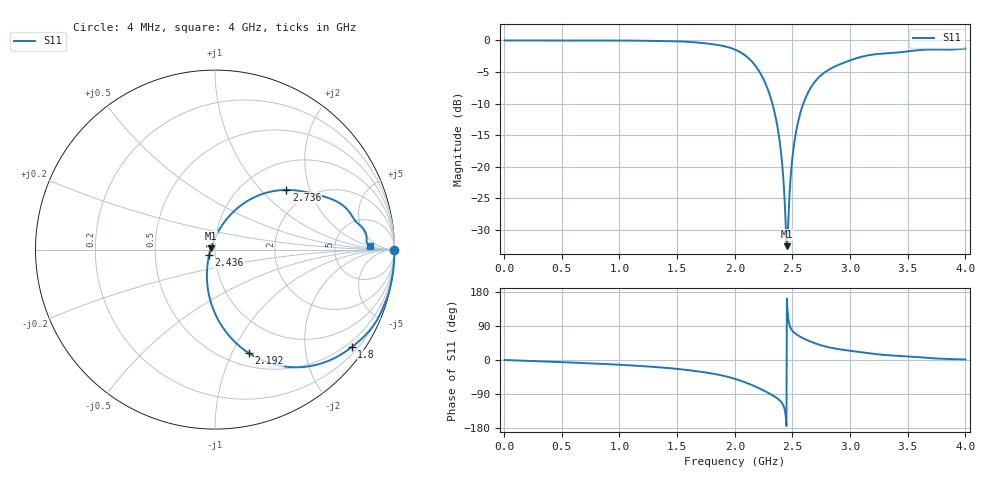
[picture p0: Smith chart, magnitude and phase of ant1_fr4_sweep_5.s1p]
! TOUCHSTONE file generated by CST MICROWAVE STUDIO
! Date and time: Fri May  6 15:38:53 2022
! Project name: ant1_ceramic_sweep_fr4.cst
! Parameters = {e=0.035; h=1.6; i=0.88; l1=0.5; l2=20.96; ls=80; wl=1.7; ws=30}
! Header version: 2018
! Port assignment regex: !\s*Touchstone port\s*([0-9]+)\s*=\s*(CST MWS port|CST DS port)\s*([0-9]+|Zmin|Zmax)\s*\(\"(.*)\"\)(\s*mode\s*([0-9]+))?.*
! Touchstone port assignment:
! Touchstone port 1 = CST MWS port 1 ("")
# GHz S DB R 50
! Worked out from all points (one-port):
!   1000 points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, 4 MHz to 4 GHz, reference 50 ohm
!   lowest |S11| = -32.6 dB at 2.452 GHz (marker M1), VSWR 1.05, Z = 47.8 + j0.684 ohm
!   |S11| at or under -10 dB: 2.326 GHz to 2.595 GHz (269 MHz wide, 10.9 % of centre)
!   S11 on the Smith chart (normalised r, x): 4 MHz: open; 1.8 GHz: 0.35, -3.09; 2.192 GHz: 0.64, -1.16; 2.436 GHz: 0.93, -0.06; 2.736 GHz: 1.54, +1.40; 4 GHz: 13, +2
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0.004  -0.00 -0.0
0.504  -0.00 -5.7
1.004  -0.01 -12.6
1.504  -0.14 -23.6
1.8  -0.58 -35.5
2.004  -1.47 -50.0
2.104  -2.57 -60.6
2.192  -4.35 -71.9
2.288  -7.82 -86.4
2.356  -12.31 -98.6
2.384  -15.27 -105.0
2.404  -18.24 -111.2
2.416  -20.65 -116.6
2.436  -26.75 -135.5
2.444  -30.30 -156.1
2.452  -32.62 162.2
2.464  -28.46 109.2
2.488  -20.87 82.4
2.504  -17.92 75.8
2.54  -13.70 66.6
2.588  -10.36 58.1
2.652  -7.70 49.2
2.736  -5.72 40.0
2.844  -4.35 31.7
3.004  -3.13 24.2
3.2  -2.23 16.3
3.504  -1.72 9.5
4  -1.28 1.4
